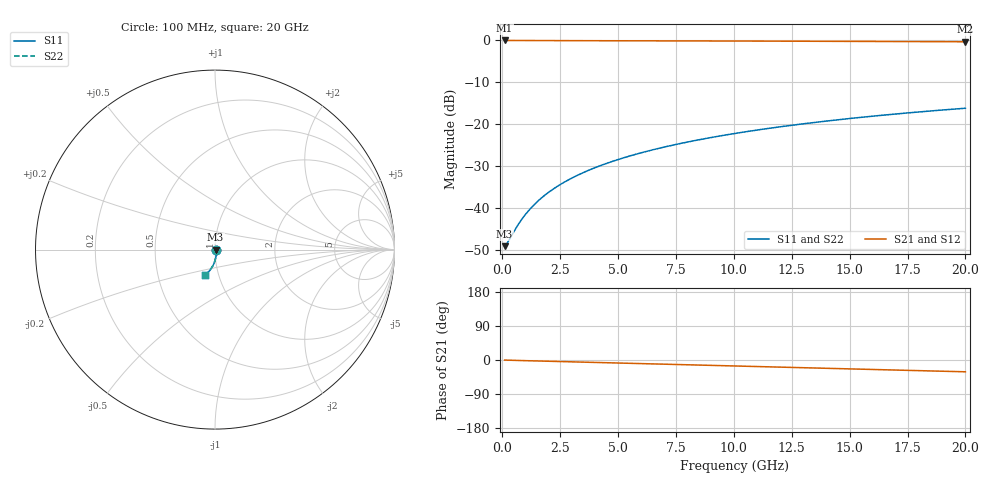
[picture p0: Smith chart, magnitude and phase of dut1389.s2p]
! Touchstone file exported from HFSS 2026.1.0
!  File:  C:/ffzhzh/LocalFiles/Ansys_Project_Files/temp_train_TMRDL_1389_1783166172_51560.aedt
!  Generated:  07:57:19 PM Jul  4, 2026
!  Design:  TMRDL
!  Project:  temp_train_TMRDL_1389_1783166172_51560
! Variables:
!  h_bsmrdl = 2um
!  h_ox = 20um
!  h_rdl = 5um
!  h_sub = 80um
!  h_tmrdl = 2.77um
!  h_tsv = 80um
!  h_via = 3um
!  l_bsmrdl = 300um
!  l_sub = 917.48um
!  l_tmrdl = 517.48um
!  m_sub = 200um
!  pitch = 21.86um
!  r_tsv = 6um
!  s_tmrdl = 10um
!  w_bsmrdl = 18um
!  w_sub = 500um
!  w_tmrdl = 20.39um
!  x_tsv_center1 = 527.675um
!  x_tsv_center2 = 845.675um
!  x_tsv_center3 = 1383.545um
!  x_tsv_center4 = 1701.545um
!  x_tsv_center5 = 2239.415um
!  x_tsv_center6 = 2557.415um
# GHz S MA R 50.000000
! Terminal data exported
! Port[1] = TM_RDL1_1_T1
! Port[2] = TM_RDL1_1_T2
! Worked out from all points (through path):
!   200 points, 100 MHz to 20 GHz, reference 50 ohm
!   highest |S21| = -0.03 dB at 100 MHz (marker M1); lowest = -0.3 dB at 20 GHz (marker M2)
!   group delay of S21, straight-line fit = 4.31 ps
!   lowest |S11| = -49.0 dB at 100 MHz (marker M3), VSWR 1.01, Z = 50.4 - j0.00627 ohm
!   |S11| at or under -10 dB: start of sweep to end of sweep
!   |S22| runs from -49.0 to -16.2 dB; largest |S21 - S12| = 2e-15
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0.1  0.003539 -1.0  0.9965 -0.2  0.9965 -0.2  0.003539 -1.0
! Gamma 0 0 0 0
! Port Impedance 50 0 50 0
0.2  0.00381 -3.0  0.9962 -0.4  0.9962 -0.4  0.00381 -3.0
0.3  0.004214 -6.3  0.9958 -0.6  0.9958 -0.6  0.004214 -6.3
0.6  0.00586 -20.4  0.9945 -1.1  0.9945 -1.1  0.005859 -20.4
0.9  0.007779 -33.9  0.9934 -1.6  0.9934 -1.6  0.007777 -33.9
1.2  0.009812 -44.2  0.9927 -2.1  0.9927 -2.1  0.009808 -44.2
1.5  0.01191 -51.9  0.9922 -2.5  0.9922 -2.5  0.0119 -52.0
1.9  0.01477 -59.4  0.9917 -3.2  0.9917 -3.2  0.01476 -59.5
2.4  0.01842 -66.0  0.9912 -4.0  0.9912 -4.0  0.01841 -66.0
2.9  0.02212 -70.6  0.9907 -4.7  0.9907 -4.7  0.02211 -70.7
3.5  0.02662 -74.8  0.9902 -5.7  0.9902 -5.7  0.0266 -74.8
4.2  0.03193 -78.4  0.9894 -6.8  0.9894 -6.8  0.03191 -78.5
5  0.03806 -81.7  0.9886 -8.1  0.9886 -8.1  0.03804 -81.7
5.9  0.04504 -84.6  0.9874 -9.5  0.9874 -9.5  0.04501 -84.7
6.8  0.05208 -87.1  0.9862 -10.9  0.9862 -10.9  0.05204 -87.2
8.3  0.06392 -90.7  0.984 -13.3  0.984 -13.3  0.06387 -90.8
10.1  0.07825 -94.4  0.981 -16.1  0.981 -16.1  0.07818 -94.6
11.7  0.09102 -97.5  0.9782 -18.5  0.9782 -18.5  0.09094 -97.7
13.4  0.1046 -100.6  0.975 -21.2  0.975 -21.2  0.1045 -100.8
15  0.1172 -103.4  0.9718 -23.6  0.9718 -23.6  0.1171 -103.6
16.7  0.1304 -106.4  0.9684 -26.2  0.9684 -26.2  0.1303 -106.6
20  0.1554 -111.9  0.9615 -31.1  0.9615 -31.1  0.1552 -112.1
